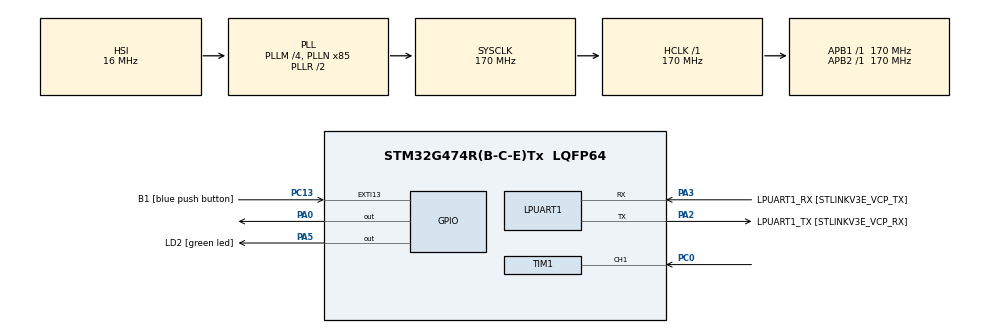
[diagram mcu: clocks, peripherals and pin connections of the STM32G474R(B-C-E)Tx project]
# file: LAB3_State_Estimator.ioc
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Dma.LPUART1_TX.0.Direction=DMA_MEMORY_TO_PERIPH
Dma.LPUART1_TX.0.EventEnable=DISABLE
Dma.LPUART1_TX.0.Instance=DMA1_Channel1
Dma.LPUART1_TX.0.MemDataAlignment=DMA_MDATAALIGN_BYTE
Dma.LPUART1_TX.0.MemInc=DMA_MINC_ENABLE
Dma.LPUART1_TX.0.Mode=DMA_NORMAL
Dma.LPUART1_TX.0.PeriphDataAlignment=DMA_PDATAALIGN_BYTE
Dma.LPUART1_TX.0.PeriphInc=DMA_PINC_DISABLE
Dma.LPUART1_TX.0.Polarity=HAL_DMAMUX_REQ_GEN_RISING
Dma.LPUART1_TX.0.Priority=DMA_PRIORITY_LOW
Dma.LPUART1_TX.0.RequestNumber=1
Dma.LPUART1_TX.0.SignalID=NONE
Dma.LPUART1_TX.0.SyncEnable=DISABLE
Dma.LPUART1_TX.0.SyncPolarity=HAL_DMAMUX_SYNC_NO_EVENT
Dma.LPUART1_TX.0.SyncRequestNumber=1
Dma.LPUART1_TX.0.SyncSignalID=NONE
Dma.Request0=LPUART1_TX
Mcu.Family=STM32G4
Mcu.Name=STM32G474R(B-C-E)Tx
Mcu.Package=LQFP64
NVIC.DMA1_Channel1_IRQn=true\:0\:0\:false\:false\:true\:false\:true\:true
NVIC.EXTI15_10_IRQn=true\:0\:0\:false\:false\:true\:true\:true\:true
NVIC.PriorityGroup=NVIC_PRIORITYGROUP_4
NVIC.TIM1_CC_IRQn=true\:0\:0\:false\:false\:true\:true\:true\:true
NVIC.TIM3_IRQn=true\:0\:0\:false\:false\:true\:true\:true\:true
PA0.Signal=GPIO_Output
PA13.GPIO_Label=T_SWDIO
PA13.Signal=SYS_JTMS-SWDIO
PA14.GPIO_Label=T_SWCLK
PA14.Signal=SYS_JTCK-SWCLK
PA2.GPIO_Label=LPUART1_TX [STLINKV3E_VCP_RX]
PA2.Mode=Asynchronous
PA2.Signal=LPUART1_TX
PA3.GPIO_Label=LPUART1_RX [STLINKV3E_VCP_TX]
PA3.Mode=Asynchronous
PA3.Signal=LPUART1_RX
PA5.GPIO_Label=LD2 [green led]
PA5.Signal=GPIO_Output
PB3.GPIO_Label=T_SWO
PB3.Signal=SYS_JTDO-SWO
PC0.Signal=S_TIM1_CH1
PC13.GPIO_Label=B1 [blue push button]
PC13.Signal=GPXTI13
PC14-OSC32_IN.GPIO_Label=RCC_OSC32_IN
PC14-OSC32_IN.Signal=RCC_OSC32_IN
PC15-OSC32_OUT.GPIO_Label=RCC_OSC32_OUT
PC15-OSC32_OUT.Signal=RCC_OSC32_OUT
PF0-OSC_IN.GPIO_Label=RCC_OSC_IN
PF0-OSC_IN.Signal=RCC_OSC_IN
PF1-OSC_OUT.GPIO_Label=RCC_OSC_OUT
PF1-OSC_OUT.Signal=RCC_OSC_OUT
ProjectManager.HeapSize=0x200
ProjectManager.StackSize=0x400
ProjectManager.TargetToolchain=STM32CubeIDE
RCC.ADC12Freq_Value=170000000
RCC.ADC345Freq_Value=170000000
RCC.AHBFreq_Value=170000000
RCC.APB1Freq_Value=170000000
RCC.APB1TimFreq_Value=170000000
RCC.APB2Freq_Value=170000000
RCC.APB2TimFreq_Value=170000000
RCC.CortexFreq_Value=170000000
RCC.EXTERNAL_CLOCK_VALUE=12288000
RCC.HCLKFreq_Value=170000000
RCC.HSE_VALUE=24000000
RCC.HSI48_VALUE=48000000
RCC.HSI_VALUE=16000000
RCC.LSE_VALUE=32768
RCC.PLLM=RCC_PLLM_DIV4
RCC.PLLN=85
RCC.RTCClockSelection=RCC_RTCCLKSOURCE_LSE
RCC.SYSCLKFreq_VALUE=170000000
RCC.SYSCLKSource=RCC_SYSCLKSOURCE_PLLCLK
RCC.USBFreq_Value=170000000
RCC.VCOOutputFreq_Value=340000000
SH.S_TIM1_CH1.0=TIM1_CH1,Input_Capture1_from_TI1
TIM1.Channel-Input_Capture1_from_TI1=TIM_CHANNEL_1
TIM1.Prescaler=169
TIM2.Prescaler=169
TIM3.PeriodNoDither=600
TIM3.Prescaler=16999
VP_SYS_VS_DBSignals.Mode=DisableDeadBatterySignals
VP_TIM1_VS_ClockSourceINT.Mode=Internal
VP_TIM2_VS_ClockSourceINT.Mode=Internal
VP_TIM3_VS_ClockSourceINT.Mode=Internal
board=NUCLEO-G474RE

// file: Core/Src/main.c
/* USER CODE BEGIN Header */
/**
 ******************************************************************************
 * @file           : main.c
 * @brief          : Main program body
 ******************************************************************************
 * @attention
 *
 * Copyright (c) 2026 STMicroelectronics.
 * All rights reserved.
 *
 * This software is licensed under terms that can be found in the LICENSE file
 * in the root directory of this software component.
 * If no LICENSE file comes with this software, it is provided AS-IS.
 *
 ******************************************************************************
 */
/* USER CODE END Header */
#include "main.h"

/* USER CODE BEGIN PTD */
Ultrasonic TIM_Data={0};
/* USER CODE END PTD */

UART_HandleTypeDef hlpuart1;
DMA_HandleTypeDef hdma_lpuart1_tx;

TIM_HandleTypeDef htim1;
TIM_HandleTypeDef htim2;
TIM_HandleTypeDef htim3;

void SystemClock_Config(void);
static void MX_GPIO_Init(void);
static void MX_DMA_Init(void);
static void MX_TIM2_Init(void);
static void MX_TIM3_Init(void);
static void MX_TIM1_Init(void);
static void MX_LPUART1_UART_Init(void);

int main(void)
{

  /* MCU Configuration--------------------------------------------------------*/

  /* Reset of all peripherals, Initializes the Flash interface and the Systick. */
  HAL_Init();

  /* Configure the system clock */
  SystemClock_Config();

  /* Initialize all configured peripherals */
  MX_GPIO_Init();
  MX_DMA_Init();
  MX_TIM2_Init();
  MX_TIM3_Init();
  MX_TIM1_Init();
  MX_LPUART1_UART_Init();
  /* USER CODE BEGIN 2 */

  	HAL_TIM_Base_Start(&htim2);
	HAL_TIM_Base_Start_IT(&htim3);
	HAL_TIM_IC_Start_IT(&htim1, TIM_CHANNEL_1);
	TIM_Data.state = 1;
  /* USER CODE END 2 */

  /* Infinite loop */
	while (1) {

	}
}

void SystemClock_Config(void)
{
  RCC_OscInitTypeDef RCC_OscInitStruct = {0};
  RCC_ClkInitTypeDef RCC_ClkInitStruct = {0};

  /** Configure the main internal regulator output voltage
  */
  HAL_PWREx_ControlVoltageScaling(PWR_REGULATOR_VOLTAGE_SCALE1_BOOST);

  /** Initializes the RCC Oscillators according to the specified parameters
  * in the RCC_OscInitTypeDef structure.
  */
  RCC_OscInitStruct.OscillatorType = RCC_OSCILLATORTYPE_HSI;
  RCC_OscInitStruct.HSIState = RCC_HSI_ON;
  RCC_OscInitStruct.HSICalibrationValue = RCC_HSICALIBRATION_DEFAULT;
  RCC_OscInitStruct.PLL.PLLState = RCC_PLL_ON;
  RCC_OscInitStruct.PLL.PLLSource = RCC_PLLSOURCE_HSI;
  RCC_OscInitStruct.PLL.PLLM = RCC_PLLM_DIV4;
  RCC_OscInitStruct.PLL.PLLN = 85;
  RCC_OscInitStruct.PLL.PLLP = RCC_PLLP_DIV2;
  RCC_OscInitStruct.PLL.PLLQ = RCC_PLLQ_DIV2;
  RCC_OscInitStruct.PLL.PLLR = RCC_PLLR_DIV2;
  if (HAL_RCC_OscConfig(&RCC_OscInitStruct) != HAL_OK)
  {
    Error_Handler();
  }

  /** Initializes the CPU, AHB and APB buses clocks
  */
  RCC_ClkInitStruct.ClockType = RCC_CLOCKTYPE_HCLK|RCC_CLOCKTYPE_SYSCLK
                              |RCC_CLOCKTYPE_PCLK1|RCC_CLOCKTYPE_PCLK2;
  RCC_ClkInitStruct.SYSCLKSource = RCC_SYSCLKSOURCE_PLLCLK;
  RCC_ClkInitStruct.AHBCLKDivider = RCC_SYSCLK_DIV1;
  RCC_ClkInitStruct.APB1CLKDivider = RCC_HCLK_DIV1;
  RCC_ClkInitStruct.APB2CLKDivider = RCC_HCLK_DIV1;

  if (HAL_RCC_ClockConfig(&RCC_ClkInitStruct, FLASH_LATENCY_4) != HAL_OK)
  {
    Error_Handler();
  }
}

static void MX_LPUART1_UART_Init(void)
{

  hlpuart1.Instance = LPUART1;
  hlpuart1.Init.BaudRate = 209700;
  hlpuart1.Init.WordLength = UART_WORDLENGTH_8B;
  hlpuart1.Init.StopBits = UART_STOPBITS_1;
  hlpuart1.Init.Parity = UART_PARITY_NONE;
  hlpuart1.Init.Mode = UART_MODE_TX_RX;
  hlpuart1.Init.HwFlowCtl = UART_HWCONTROL_NONE;
  hlpuart1.Init.OneBitSampling = UART_ONE_BIT_SAMPLE_DISABLE;
  hlpuart1.Init.ClockPrescaler = UART_PRESCALER_DIV1;
  hlpuart1.AdvancedInit.AdvFeatureInit = UART_ADVFEATURE_NO_INIT;
  if (HAL_UART_Init(&hlpuart1) != HAL_OK)
  {
    Error_Handler();
  }
  if (HAL_UARTEx_SetTxFifoThreshold(&hlpuart1, UART_TXFIFO_THRESHOLD_1_8) != HAL_OK)
  {
    Error_Handler();
  }
  if (HAL_UARTEx_SetRxFifoThreshold(&hlpuart1, UART_RXFIFO_THRESHOLD_1_8) != HAL_OK)
  {
    Error_Handler();
  }
  if (HAL_UARTEx_DisableFifoMode(&hlpuart1) != HAL_OK)
  {
    Error_Handler();
  }

}

static void MX_TIM1_Init(void)
{

  TIM_ClockConfigTypeDef sClockSourceConfig = {0};
  TIM_MasterConfigTypeDef sMasterConfig = {0};
  TIM_IC_InitTypeDef sConfigIC = {0};

  htim1.Instance = TIM1;
  htim1.Init.Prescaler = 169;
  htim1.Init.CounterMode = TIM_COUNTERMODE_UP;
  htim1.Init.Period = 65535;
  htim1.Init.ClockDivision = TIM_CLOCKDIVISION_DIV1;
  htim1.Init.RepetitionCounter = 0;
  htim1.Init.AutoReloadPreload = TIM_AUTORELOAD_PRELOAD_DISABLE;
  if (HAL_TIM_Base_Init(&htim1) != HAL_OK)
  {
    Error_Handler();
  }
  sClockSourceConfig.ClockSource = TIM_CLOCKSOURCE_INTERNAL;
  if (HAL_TIM_ConfigClockSource(&htim1, &sClockSourceConfig) != HAL_OK)
  {
    Error_Handler();
  }
  if (HAL_TIM_IC_Init(&htim1) != HAL_OK)
  {
    Error_Handler();
  }
  sMasterConfig.MasterOutputTrigger = TIM_TRGO_RESET;
  sMasterConfig.MasterOutputTrigger2 = TIM_TRGO2_RESET;
  sMasterConfig.MasterSlaveMode = TIM_MASTERSLAVEMODE_DISABLE;
  if (HAL_TIMEx_MasterConfigSynchronization(&htim1, &sMasterConfig) != HAL_OK)
  {
    Error_Handler();
  }
  sConfigIC.ICPolarity = TIM_INPUTCHANNELPOLARITY_RISING;
  sConfigIC.ICSelection = TIM_ICSELECTION_DIRECTTI;
  sConfigIC.ICPrescaler = TIM_ICPSC_DIV1;
  sConfigIC.ICFilter = 0;
  if (HAL_TIM_IC_ConfigChannel(&htim1, &sConfigIC, TIM_CHANNEL_1) != HAL_OK)
  {
    Error_Handler();
  }

}

static void MX_TIM2_Init(void)
{

  TIM_ClockConfigTypeDef sClockSourceConfig = {0};
  TIM_MasterConfigTypeDef sMasterConfig = {0};

  htim2.Instance = TIM2;
  htim2.Init.Prescaler = 169;
  htim2.Init.CounterMode = TIM_COUNTERMODE_UP;
  htim2.Init.Period = 4294967295;
  htim2.Init.ClockDivision = TIM_CLOCKDIVISION_DIV1;
  htim2.Init.AutoReloadPreload = TIM_AUTORELOAD_PRELOAD_DISABLE;
  if (HAL_TIM_Base_Init(&htim2) != HAL_OK)
  {
    Error_Handler();
  }
  sClockSourceConfig.ClockSource = TIM_CLOCKSOURCE_INTERNAL;
  if (HAL_TIM_ConfigClockSource(&htim2, &sClockSourceConfig) != HAL_OK)
  {
    Error_Handler();
  }
  sMasterConfig.MasterOutputTrigger = TIM_TRGO_RESET;
  sMasterConfig.MasterSlaveMode = TIM_MASTERSLAVEMODE_DISABLE;
  if (HAL_TIMEx_MasterConfigSynchronization(&htim2, &sMasterConfig) != HAL_OK)
  {
    Error_Handler();
  }

}

static void MX_TIM3_Init(void)
{

  TIM_ClockConfigTypeDef sClockSourceConfig = {0};
  TIM_MasterConfigTypeDef sMasterConfig = {0};

  htim3.Instance = TIM3;
  htim3.Init.Prescaler = 16999;
  htim3.Init.CounterMode = TIM_COUNTERMODE_UP;
  htim3.Init.Period = 600;
  htim3.Init.ClockDivision = TIM_CLOCKDIVISION_DIV1;
  htim3.Init.AutoReloadPreload = TIM_AUTORELOAD_PRELOAD_DISABLE;
  if (HAL_TIM_Base_Init(&htim3) != HAL_OK)
  {
    Error_Handler();
  }
  sClockSourceConfig.ClockSource = TIM_CLOCKSOURCE_INTERNAL;
  if (HAL_TIM_ConfigClockSource(&htim3, &sClockSourceConfig) != HAL_OK)
  {
    Error_Handler();
  }
  sMasterConfig.MasterOutputTrigger = TIM_TRGO_RESET;
  sMasterConfig.MasterSlaveMode = TIM_MASTERSLAVEMODE_DISABLE;
  if (HAL_TIMEx_MasterConfigSynchronization(&htim3, &sMasterConfig) != HAL_OK)
  {
    Error_Handler();
  }

}

static void MX_DMA_Init(void)
{

  /* DMA controller clock enable */
  __HAL_RCC_DMAMUX1_CLK_ENABLE();
  __HAL_RCC_DMA1_CLK_ENABLE();

  /* DMA interrupt init */
  /* DMA1_Channel1_IRQn interrupt configuration */
  HAL_NVIC_SetPriority(DMA1_Channel1_IRQn, 0, 0);
  HAL_NVIC_EnableIRQ(DMA1_Channel1_IRQn);

}

static void MX_GPIO_Init(void)
{
  GPIO_InitTypeDef GPIO_InitStruct = {0};

  /* GPIO Ports Clock Enable */
  __HAL_RCC_GPIOC_CLK_ENABLE();
  __HAL_RCC_GPIOF_CLK_ENABLE();
  __HAL_RCC_GPIOA_CLK_ENABLE();
  __HAL_RCC_GPIOB_CLK_ENABLE();

  /*Configure GPIO pin Output Level */
  HAL_GPIO_WritePin(GPIOA, GPIO_PIN_0|LD2_Pin, GPIO_PIN_RESET);

  /*Configure GPIO pin : B1_Pin */
  GPIO_InitStruct.Pin = B1_Pin;
  GPIO_InitStruct.Mode = GPIO_MODE_IT_RISING;
  GPIO_InitStruct.Pull = GPIO_NOPULL;
  HAL_GPIO_Init(B1_GPIO_Port, &GPIO_InitStruct);

  /*Configure GPIO pins : PA0 LD2_Pin */
  GPIO_InitStruct.Pin = GPIO_PIN_0|LD2_Pin;
  GPIO_InitStruct.Mode = GPIO_MODE_OUTPUT_PP;
  GPIO_InitStruct.Pull = GPIO_NOPULL;
  GPIO_InitStruct.Speed = GPIO_SPEED_FREQ_LOW;
  HAL_GPIO_Init(GPIOA, &GPIO_InitStruct);

  /* EXTI interrupt init*/
  HAL_NVIC_SetPriority(EXTI15_10_IRQn, 0, 0);
  HAL_NVIC_EnableIRQ(EXTI15_10_IRQn);

}

/* USER CODE BEGIN 4 */
void delay() {
	{
		__HAL_TIM_SET_COUNTER(&htim1,0);
		while (__HAL_TIM_GET_COUNTER (&htim2) < 10)
			;
	}
}

void HAL_TIM_PeriodElapsedCallback(TIM_HandleTypeDef *htim) {
	// Check if the interrupt was triggered by Timer 2
	if (htim->Instance == TIM3) {
		HAL_GPIO_TogglePin(GPIOA, GPIO_PIN_0);
		delay();
		HAL_GPIO_TogglePin(GPIOA, GPIO_PIN_0);
	}
}

	void HAL_TIM_IC_CaptureCallback(TIM_HandleTypeDef *htim) {
		// 1. Check if the interrupt came from Timer 1
		if (htim->Instance == TIM1) {
			if (TIM_Data.state == 1){
				TIM_Data.Rising = HAL_TIM_ReadCapturedValue(&htim1, TIM_CHANNEL_1);
				__HAL_TIM_SET_CAPTUREPOLARITY(&htim1, TIM_CHANNEL_1, TIM_INPUTCHANNELPOLARITY_FALLING);
				TIM_Data.state = 2;
			}
			else if(TIM_Data.state == 2){
				TIM_Data.Falling = HAL_TIM_ReadCapturedValue(&htim1, TIM_CHANNEL_1);
				__HAL_TIM_SET_CAPTUREPOLARITY(&htim1, TIM_CHANNEL_1, TIM_INPUTCHANNELPOLARITY_RISING);
				TIM_Data.state = 1;
				TIM_Data.Diff = TIM_Data.Falling-TIM_Data.Rising;
				__HAL_TIM_SET_COUNTER(&htim1, 0);
			}
		}
	}
/* USER CODE END 4 */

void Error_Handler(void)
{
		__disable_irq();
		while (1) {
		}
}
